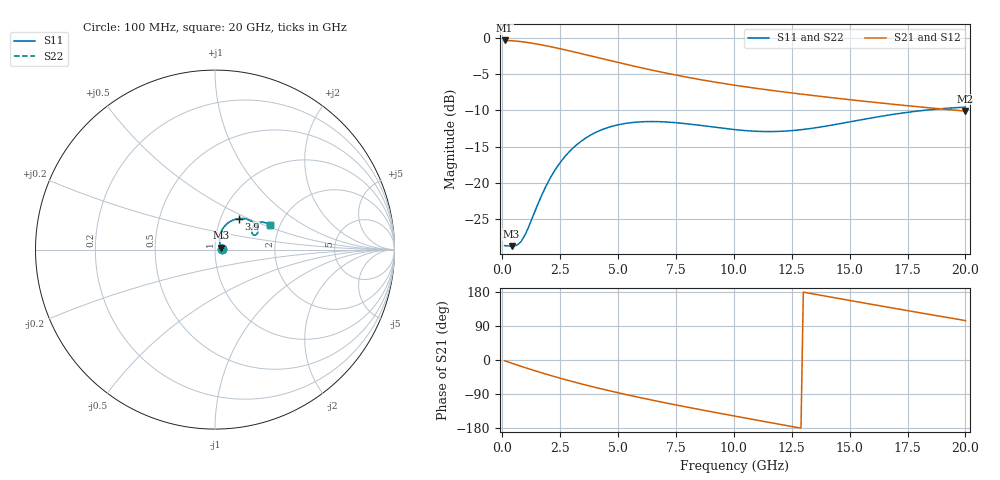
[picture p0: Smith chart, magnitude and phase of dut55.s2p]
! Created with skrf 1.9.0 (http://scikit-rf.org).
# GHz S RI R 50.0
!freq ReS11 ImS11 ReS21 ImS21 ReS12 ImS12 ReS22 ImS22
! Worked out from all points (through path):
!   200 points, 100 MHz to 20 GHz, reference 50 ohm
!   highest |S21| = -0.33 dB at 100 MHz (marker M1); lowest = -10.1 dB at 20 GHz (marker M2)
!   group delay of S21, straight-line fit = 33.8 ps
!   lowest |S11| = -28.8 dB at 400 MHz (marker M3), VSWR 1.08, Z = 53.6 + j1.17 ohm
!   |S11| at or under -10 dB: start of sweep to 18.17 GHz
!   |S22| runs from -28.8 to -9.5 dB; largest |S21 - S12| = 2e-15
!   S11 on the Smith chart (normalised r, x): 100 MHz: 1.08, +0.01; 3.9 GHz: 1.22, +0.44; 20 GHz: 1.77, +0.54
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0.1  0.0367 0.00236  0.9622 -0.0349  0.9622 -0.0349  0.0367 0.00236
0.4  0.0348 0.0109  0.9483 -0.1388  0.9483 -0.1388  0.0348 0.0109
0.7  0.0312 0.0213  0.9194 -0.2371  0.9194 -0.2371  0.0312 0.0213
0.9  0.0285 0.03  0.8928 -0.2984  0.8928 -0.2984  0.0285 0.03
1.4  0.0248 0.0578  0.8066 -0.4328  0.8066 -0.4328  0.0248 0.0578
1.9  0.0304 0.0907  0.7016 -0.5382  0.7016 -0.5382  0.0304 0.0907
2.2  0.039 0.1103  0.6337 -0.5876  0.6337 -0.5876  0.039 0.1103
2.6  0.0559 0.1336  0.5408 -0.6386  0.5408 -0.6386  0.0559 0.1336
3  0.0774 0.1521  0.4479 -0.6738  0.4479 -0.6738  0.0774 0.1521
3.5  0.1077 0.167  0.335 -0.6986  0.335 -0.6986  0.1077 0.167
3.9  0.1323 0.1726  0.2492 -0.7052  0.2492 -0.7052  0.1323 0.1726
4.6  0.1715 0.1706  0.1119 -0.694  0.1119 -0.694  0.1715 0.1706
5.3  0.2023 0.1584  -0.00696 -0.6613  -0.00696 -0.6613  0.2023 0.1584
6.8  0.2355 0.1201  -0.2006 -0.5494  -0.2006 -0.5494  0.2355 0.1201
8.4  0.2348 0.0889  -0.3301 -0.4038  -0.3301 -0.4038  0.2348 0.0889
10.1  0.2181 0.0807  -0.4023 -0.2445  -0.4023 -0.2445  0.2181 0.0807
11.7  0.2058 0.0934  -0.4218 -0.1006  -0.4218 -0.1006  0.2058 0.0934
13.4  0.2072 0.1177  -0.3996 0.0375  -0.3996 0.0375  0.2072 0.1177
15.1  0.2251 0.1405  -0.3417 0.1517  -0.3417 0.1517  0.2251 0.1405
16.7  0.2519 0.1517  -0.2642 0.2313  -0.2642 0.2313  0.2519 0.1517
18.3  0.2805 0.1496  -0.1746 0.2815  -0.1746 0.2815  0.2805 0.1496
20  0.3047 0.1345  -0.0761 0.3039  -0.0761 0.3039  0.3047 0.1345
